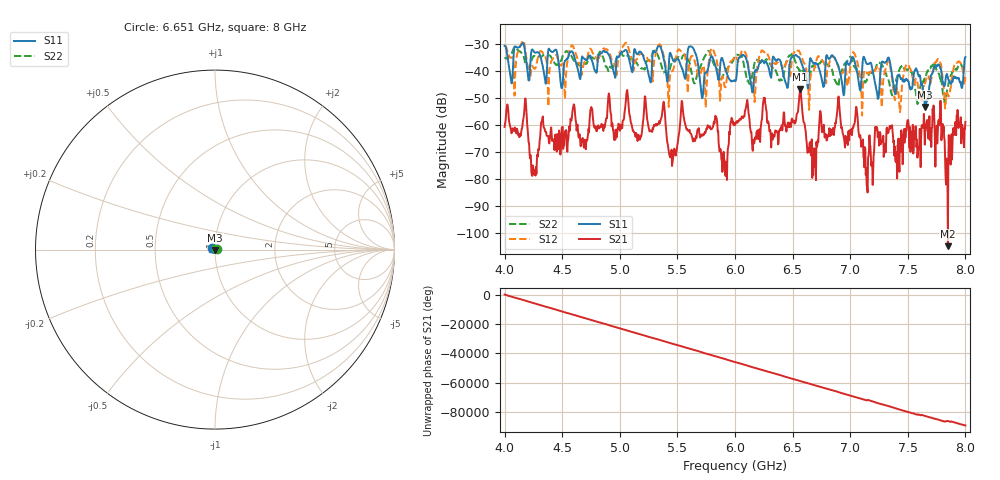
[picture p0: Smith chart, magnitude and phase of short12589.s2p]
# Hz  S  RI  R  50.0
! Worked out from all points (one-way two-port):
!   1000 points, 4 GHz to 8 GHz, reference 50 ohm
!   highest |S21| = -46.81 dB at 6.567 GHz (marker M1); lowest = -105.0 dB at 7.848 GHz (marker M2)
!   lowest |S11| = -53.3 dB at 7.648 GHz (marker M3), VSWR 1.00, Z = 50 - j0.215 ohm
!   |S11| at or under -10 dB: start of sweep to end of sweep
!   |S22| runs from -52.2 to -31.0 dB; largest |S21 - S12| = 0.038
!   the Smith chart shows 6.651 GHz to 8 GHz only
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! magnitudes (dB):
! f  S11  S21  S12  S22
! 4 GHz  -30.5  -60.7  -30.9  -35.4
! 4.18 GHz  -33.6  -50.1  -32.3  -37.5
! 4.256 GHz  -32.9  -78.4  -39.1  -34.3
! 4.332 GHz  -38.5  -56.8  -33.2  -34.2
! 4.669 GHz  -35.6  -65.7  -41.4  -36.5
! 5.337 GHz  -30.8  -59.6  -30.2  -35.0
! 5.425 GHz  -37.5  -69.9  -53.3  -40.5
! 5.826 GHz  -37.4  -57.6  -33.8  -38.2
! 5.91 GHz  -38.5  -73.1  -45.9  -40.6
! 6.002 GHz  -43.7  -60.0  -34.4  -34.3
! 6.158 GHz  -46.7  -66.2  -44.5  -39.7
! 6.234 GHz  -35.8  -57.8  -32.3  -36.7
! 6.567 GHz  -35.8  -46.8  -33.5  -39.7
! 6.667 GHz  -36.2  -65.3  -40.7  -38.3
! 6.895 GHz  -37.8  -50.6  -38.2  -45.7
! 7.135 GHz  -36.6  -78.4  -40.3  -43.8
! 7.235 GHz  -48.7  -61.5  -38.1  -36.9
! 7.335 GHz  -35.0  -61.7  -36.0  -43.7
! 7.648 GHz  -53.3  -67.3  -44.6  -42.7
! 7.768 GHz  -37.8  -58.2  -35.7  -41.0
! 7.848 GHz  -42.3  -105.0  -48.5  -46.1
! 8 GHz  -34.8  -58.8  -42.2  -40.3
